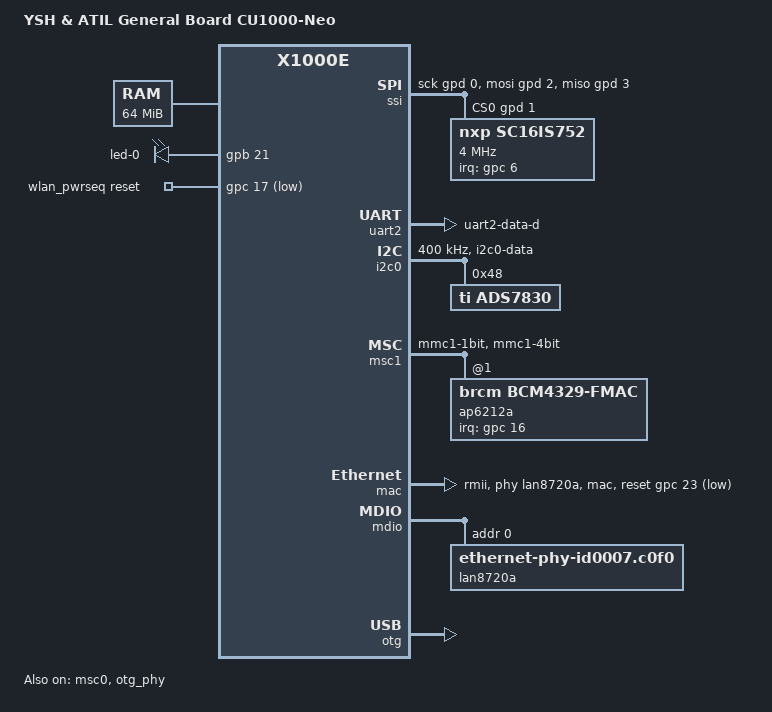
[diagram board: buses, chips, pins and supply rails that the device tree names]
// SPDX-License-Identifier: GPL-2.0
/dts-v1/;

#include "x1000.dtsi"
#include <dt-bindings/gpio/gpio.h>
#include <dt-bindings/clock/ingenic,sysost.h>
#include <dt-bindings/interrupt-controller/irq.h>

/ {
	compatible = "yna,cu1000-neo", "ingenic,x1000e";
	model = "YSH & ATIL General Board CU1000-Neo";

	aliases {
		serial2 = &uart2;
	};

	chosen {
		stdout-path = "serial2:115200n8";
	};

	memory {
		device_type = "memory";
		reg = <0x0 0x04000000>;
	};

	leds {
		compatible = "gpio-leds";
		led-0 {
			gpios = <&gpb 21 GPIO_ACTIVE_HIGH>;
			linux,default-trigger = "mmc0";
		};
	};

	ssi: spi-gpio {
		compatible = "spi-gpio";
		#address-cells = <1>;
		#size-cells = <0>;
		num-chipselects = <1>;

		mosi-gpios = <&gpd 2 GPIO_ACTIVE_HIGH>;
		miso-gpios = <&gpd 3 GPIO_ACTIVE_HIGH>;
		sck-gpios = <&gpd 0 GPIO_ACTIVE_HIGH>;
		cs-gpios = <&gpd 1 GPIO_ACTIVE_HIGH>;

		status = "okay";

		spi-max-frequency = <50000000>;

		sc16is752: expander@0 {
			compatible = "nxp,sc16is752";
			reg = <0>; /* CE0 */
			spi-max-frequency = <4000000>;

			clocks = <&exclk_sc16is752>;

			interrupt-parent = <&gpc>;
			interrupts = <6 IRQ_TYPE_EDGE_FALLING>;

			gpio-controller;
			#gpio-cells = <2>;

			exclk_sc16is752: sc16is752 {
				compatible = "fixed-clock";
				#clock-cells = <0>;
				clock-frequency = <48000000>;
			};
		};
	};

	wlan_pwrseq: msc1-pwrseq {
		compatible = "mmc-pwrseq-simple";

		reset-gpios = <&gpc 17 GPIO_ACTIVE_LOW>;
		post-power-on-delay-ms = <200>;
	};
};

&exclk {
	clock-frequency = <24000000>;
};

&cgu {
	/*
	 * Use the 32.768 kHz oscillator as the parent of the RTC for a higher
	 * precision.
	 */
	assigned-clocks = <&cgu X1000_CLK_RTC>;
	assigned-clock-parents = <&cgu X1000_CLK_RTCLK>;
};

&ost {
	/* 1500 kHz for the system timer and clocksource */
	assigned-clocks = <&ost OST_CLK_PERCPU_TIMER>, <&ost OST_CLK_GLOBAL_TIMER>;
	assigned-clock-rates = <1500000>, <1500000>;
};

&uart2 {
	status = "okay";

	pinctrl-names = "default";
	pinctrl-0 = <&pins_uart2>;
};

&i2c0 {
	status = "okay";

	clock-frequency = <400000>;

	pinctrl-names = "default";
	pinctrl-0 = <&pins_i2c0>;

	ads7830: adc@48 {
		compatible = "ti,ads7830";
		reg = <0x48>;
	};
};

&msc0 {
	status = "okay";

	bus-width = <8>;
	max-frequency = <50000000>;

	pinctrl-names = "default";
	pinctrl-0 = <&pins_msc0>;

	non-removable;
};

&msc1 {
	status = "okay";

	#address-cells = <1>;
	#size-cells = <0>;
	bus-width = <4>;
	max-frequency = <50000000>;

	pinctrl-names = "default";
	pinctrl-0 = <&pins_msc1>;

	non-removable;

	mmc-pwrseq = <&wlan_pwrseq>;

	ap6212a: wifi@1 {
		compatible = "brcm,bcm4329-fmac";
		reg = <1>;

		interrupt-parent = <&gpc>;
		interrupts = <16 IRQ_TYPE_EDGE_FALLING>;
		interrupt-names = "host-wake";

		brcm,drive-strength = <10>;
	};
};

&mac {
	status = "okay";

	phy-mode = "rmii";
	phy-handle = <&lan8720a>;

	pinctrl-names = "default";
	pinctrl-0 = <&pins_mac>;

	snps,reset-gpio = <&gpc 23 GPIO_ACTIVE_LOW>; /* PC23 */
	snps,reset-active-low;
	snps,reset-delays-us = <0 10000 30000>;
};

&mdio {
	status = "okay";

	lan8720a: ethernet-phy@0 {
		compatible = "ethernet-phy-id0007.c0f0", "ethernet-phy-ieee802.3-c22";
		reg = <0>;
	};
};

&otg_phy {
	status = "okay";
};

&otg {
	status = "okay";
};

&pinctrl {
	pins_uart2: uart2 {
		function = "uart2";
		groups = "uart2-data-d";
		bias-pull-up;
	};

	pins_i2c0: i2c0 {
		function = "i2c0";
		groups = "i2c0-data";
		bias-pull-up;
	};

	pins_msc0: msc0 {
		function = "mmc0";
		groups = "mmc0-1bit", "mmc0-4bit", "mmc0-8bit";
		bias-disable;
	};

	pins_msc1: msc1 {
		function = "mmc1";
		groups = "mmc1-1bit", "mmc1-4bit";
		bias-disable;
	};

	pins_mac: mac {
		function = "mac";
		groups = "mac";
		bias-disable;
	};
};
